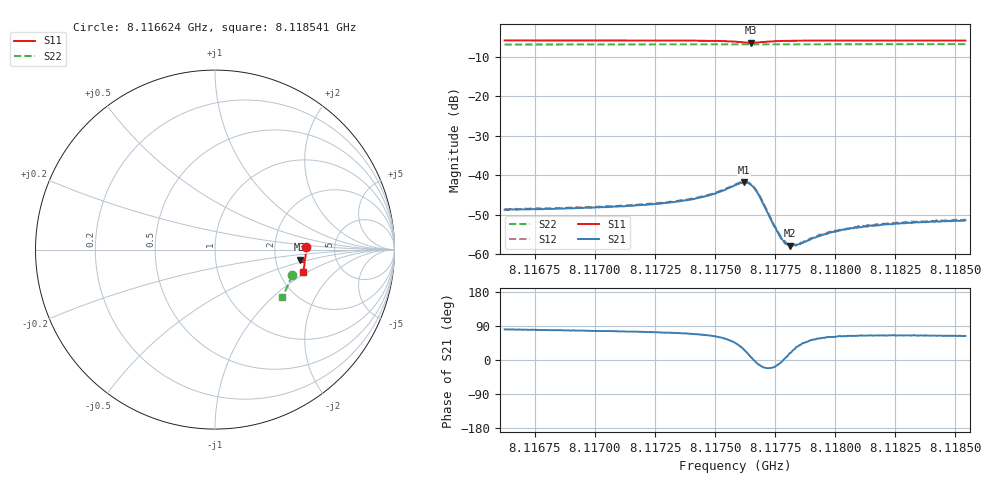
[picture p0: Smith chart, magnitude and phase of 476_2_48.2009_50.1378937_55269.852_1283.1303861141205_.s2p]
#  HZ  S  RI  R  50.00
! Rohde & Schwarz Vector Network Analyzer
! Rohde-Schwarz,ZNB20-2Port,1311601062101988,3.16
! Created: UTC 3/20/2024, 11:57:21 AM
! freq[Hz]  re:S11  im:S11  re:S21  im:S21  re:S12  im:S12  re:S22  im:S22
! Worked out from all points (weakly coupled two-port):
!   401 points, 8.116624 GHz to 8.118541 GHz, reference 50 ohm
!   highest |S21| = -41.86 dB at 8.117621 GHz (marker M1); lowest = -57.9 dB at 8.117813 GHz (marker M2)
!   lowest |S11| = -6.5 dB at 8.11765 GHz (marker M3), VSWR 2.81, Z = 137 - j19.8 ohm
!   |S11| at or under -10 dB: nowhere
!   |S22| runs from -6.9 to -6.8 dB; largest |S21 - S12| = 0.00022
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8.116624e9  0.507 0.0126  0.000585 0.00359  0.000631 0.00363  0.4269 -0.1433
8.1169451e9  0.5065 -0.0122  0.000822 0.00376  0.000889 0.0038  0.4203 -0.1646
8.1172663e9  0.5042 -0.0384  0.00125 0.00414  0.00134 0.00426  0.4122 -0.1858
8.1173814e9  0.502 -0.0487  0.00164 0.00451  0.0017 0.00462  0.4091 -0.1933
8.1174485e9  0.5 -0.0553  0.00211 0.00486  0.00219 0.00495  0.4071 -0.1974
8.1175108e9  0.4963 -0.0624  0.00291 0.00529  0.003 0.00534  0.4052 -0.2017
8.1175827e9  0.4851 -0.0696  0.00523 0.00529  0.00537 0.00536  0.4026 -0.2062
8.1176211e9  0.4746 -0.0662  0.0072 0.00365  0.00741 0.0037  0.401 -0.2082
8.1176498e9  0.4714 -0.0561  0.00744 0.000957  0.00761 0.000935  0.4004 -0.2094
8.1176642e9  0.4736 -0.051  0.00678 -0.000277  0.00687 -0.00036  0.4 -0.21
8.1176834e9  0.4792 -0.0471  0.00535 -0.00121  0.00543 -0.00128  0.3998 -0.2111
8.1177361e9  0.4923 -0.0503  0.00243 -0.000918  0.00248 -0.000998  0.3988 -0.2146
8.1177697e9  0.496 -0.0554  0.00165 -0.000243  0.00171 -0.000291  0.3979 -0.2167
8.1177936e9  0.4975 -0.0587  0.00134 0.000149  0.00141 0.000103  0.3972 -0.2185
8.1178128e9  0.4983 -0.0612  0.00121 0.000415  0.00121 0.000371  0.3967 -0.2196
8.1178512e9  0.4989 -0.0659  0.00104 0.000852  0.00105 0.000833  0.3955 -0.2223
8.1179039e9  0.4991 -0.0714  0.000956 0.00126  0.001 0.00125  0.3937 -0.2256
8.1179806e9  0.4986 -0.0787  0.00092 0.00163  0.000912 0.00169  0.3914 -0.2304
8.1180429e9  0.4981 -0.0843  0.000933 0.00181  0.000934 0.00186  0.389 -0.2344
8.1181052e9  0.4973 -0.0895  0.000928 0.002  0.000983 0.00203  0.3871 -0.2381
8.1182251e9  0.4955 -0.0992  0.000998 0.00217  0.00105 0.00221  0.3829 -0.2453
8.1185415e9  0.49 -0.1232  0.0012 0.0024  0.00125 0.00243  0.3711 -0.2644
